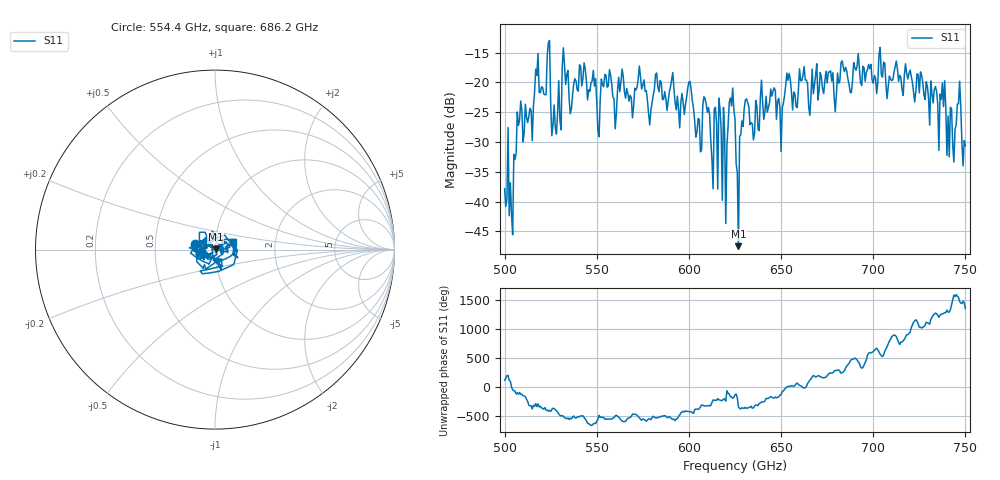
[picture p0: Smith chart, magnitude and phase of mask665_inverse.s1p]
!Created with skrf (http://scikit-rf.org).
# GHz S MA R 50.0
!freq magS11 angS11
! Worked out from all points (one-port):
!   401 points, 500 GHz to 750 GHz, reference 50 ohm
!   lowest |S11| = -47.5 dB at 626.9 GHz (marker M1), VSWR 1.01, Z = 50.4 + j0.108 ohm
!   |S11| at or under -10 dB: start of sweep to end of sweep
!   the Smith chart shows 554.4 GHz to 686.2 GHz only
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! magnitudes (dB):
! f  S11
! 500 GHz  -37.9
! 503.8 GHz  -42.1
! 508.1 GHz  -26.3
! 513.8 GHz  -24.3
! 517.5 GHz  -18.9
! 523.8 GHz  -13.4
! 526.9 GHz  -23.8
! 531.2 GHz  -17.6
! 541.9 GHz  -20.6
! 551.2 GHz  -29.1
! 562.5 GHz  -21.6
! 593.8 GHz  -22.3
! 600.6 GHz  -19.9
! 605.6 GHz  -26.2
! 609.4 GHz  -23.7
! 619.4 GHz  -28.5
! 622.5 GHz  -22.6
! 625 GHz  -26.2
! 626.9 GHz  -47.5
! 631.2 GHz  -22.8
! 634.4 GHz  -26.9
! 656.2 GHz  -24.6
! 687.5 GHz  -21.7
! 718.8 GHz  -19.4
! 737.5 GHz  -20.1
! 742.5 GHz  -24.4
! 746.2 GHz  -23.6
! 750 GHz  -30.6
